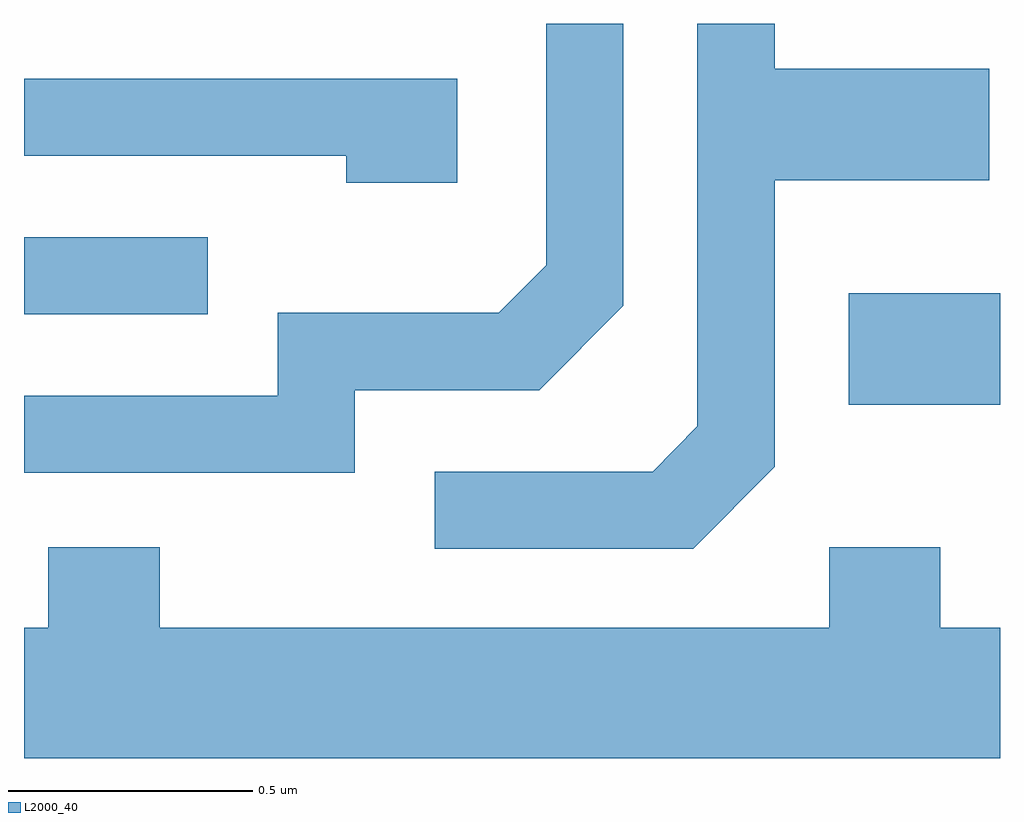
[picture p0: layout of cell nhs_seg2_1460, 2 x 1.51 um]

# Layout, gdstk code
import gdstk
lib = gdstk.Library(unit=1e-6, precision=1e-09)
def R(c, l, rs):  # rectangles x0, y0, x1, y1
    for r in rs: c.add(gdstk.rectangle(r[:2], r[2:], *l))
def P(c, l, *ps):  # polygons
    for p in ps: c.add(gdstk.Polygon(p, *l))
L2000_40 = (2000, 40)

nhs_seg2_1460 = lib.new_cell('nhs_seg2_1460')
R(nhs_seg2_1460, L2000_40, [(197.301,1069.021,197.611,1069.249), (195.611,1069.206,195.988,1069.364)])
P(nhs_seg2_1460, L2000_40, [(197.149,1068.894),(197.149,1069.481),(197.589,1069.481),(197.589,1069.709),(197.149,1069.709),(197.149,1069.802),(196.991,1069.802),(196.991,1068.977),(196.899,1068.884),(196.453,1068.884),(196.453,1068.726),(196.982,1068.726)],
  [(196.289,1069.051),(196.667,1069.051),(196.839,1069.224),(196.839,1069.802),(196.681,1069.802),(196.681,1069.307),(196.584,1069.209),(196.131,1069.209),(196.131,1069.039),(195.611,1069.039),(195.611,1068.881),(196.289,1068.881)],
  [(196.499,1069.689),(195.611,1069.689),(195.611,1069.531),(196.271,1069.531),(196.271,1069.476),(196.499,1069.476)],
  [(197.611,1068.564),(197.489,1068.564),(197.489,1068.729),(197.261,1068.729),(197.261,1068.564),(195.889,1068.564),(195.889,1068.729),(195.661,1068.729),(195.661,1068.564),(195.611,1068.564),(195.611,1068.296),(197.611,1068.296)])

lib.write_gds('nhs_seg2_1460.gds')
